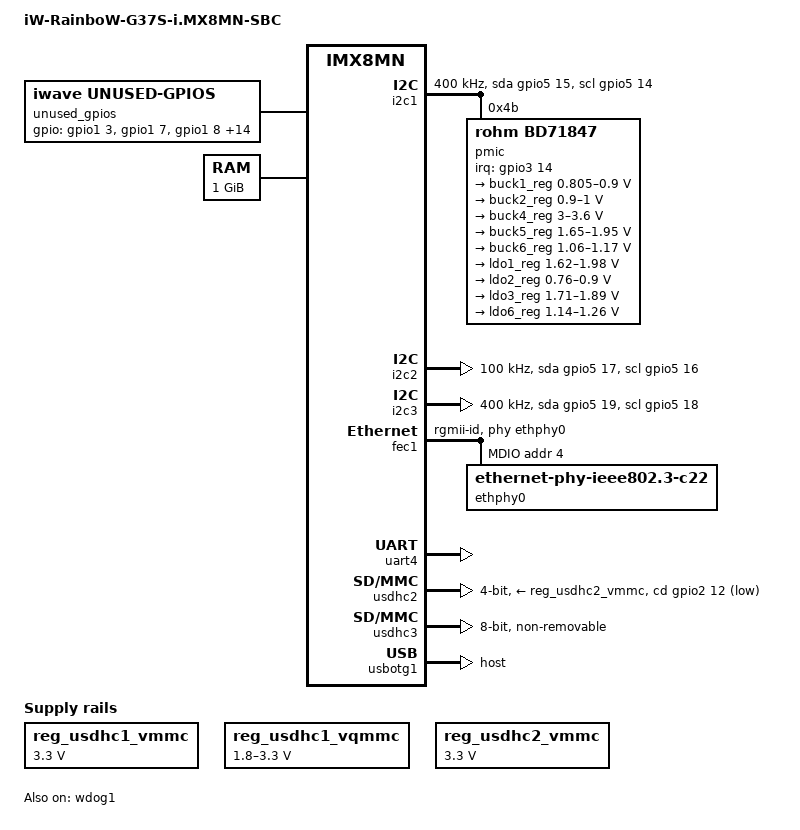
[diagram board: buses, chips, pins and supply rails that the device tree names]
/*
 * Copyright (C) 2021 iWave System Technologies Pvt Ltd.
 * Copyright 2021 
 *
 * This program is free software; you can redistribute it and/or
 * modify it under the terms of the GNU General Public License
 * as published by the Free Software Foundation; either version 2
 * of the License, or (at your option) any later version.
 *
 * This program is distributed in the hope that it will be useful,
 * but WITHOUT ANY WARRANTY; without even the implied warranty of
 * MERCHANTABILITY or FITNESS FOR A PARTICULAR PURPOSE.  See the
 * GNU General Public License for more details.
 */

/dts-v1/;

#include "imx8mn.dtsi"
#include <dt-bindings/usb/pd.h>

/ {
	model = "iW-RainboW-G37S-i.MX8MN-SBC";
	compatible = "fsl,imx8mn-iwg37s", "fsl,imx8mn";
	
	aliases { /* SD/MMC: eMMC/SD slot numbering fix */
		mmc0 = &usdhc3;
		mmc1 = &usdhc2;
		mmc2 = &usdhc1;
        };

	chosen {
		bootargs = "console=ttymxc3,115200 earlycon=ec_imx6q,0x30a60000,115200";
		stdout-path = &uart4;
	};

        unused_gpios: unused_gpios { /* GPIO: Setting Unused GPIOs as input pins */
               compatible = "iwave,unused-gpios";
               pinctrl-names = "default";
               pinctrl-0 = <&pinctrl_unused_gpio>;
               status = "okay";
      };

        memory@40000000 {
                device_type = "memory";
                reg = <0x0 0x40000000 0 0x40000000>;
       };

	reg_usdhc1_vmmc: regulator-usdhc1 { /* USDHC1: SOM Micro SD: 3.3V Fixed Regulator */
		compatible = "regulator-fixed";
		regulator-name = "VMMC_SD1_3V3";
		regulator-min-microvolt = <3300000>;
		regulator-max-microvolt = <3300000>;
	};

	reg_usdhc1_vqmmc: regulator-vqmmc-usdhc1 { /* USDHC1: SOM Micro SD: 1.8V-3.3V Switching Regulator */
		compatible = "regulator-gpio";
		regulator-name = "VQMMC_SD1_SW";
		regulator-min-microvolt = <1800000>;
		regulator-max-microvolt = <3300000>;
	};

	reg_usdhc2_vmmc: regulator-usdhc2 { /* USDHC2: Carrier Micro SD: 3.3V Fixed Regulator */
		compatible = "regulator-fixed";
		regulator-name = "VMMC_SD2_3V3";
		regulator-min-microvolt = <3300000>;
		regulator-max-microvolt = <3300000>;
		enable-active-high;
		startup-delay-us = <100>;
		off-on-delay-us = <12000>;
	};
};

&i2c1 { /* I2C: I2C1 Bus */
	clock-frequency = <400000>;
	pinctrl-names = "default", "gpio";
	pinctrl-0 = <&pinctrl_i2c1>;
	pinctrl-1 = <&pinctrl_i2c1_gpio>;
        scl-gpios = <&gpio5 14 GPIO_ACTIVE_HIGH>;
        sda-gpios = <&gpio5 15 GPIO_ACTIVE_HIGH>;
	status = "okay";
	
	pmic: bd71837@4b {
		reg = <0x4b>;
		compatible = "rohm,bd71847";
		pinctrl-0 = <&pinctrl_pmic>;
                interrupt-parent = <&gpio3>;
                interrupts = <14 GPIO_ACTIVE_LOW>;
                rohm,reset-snvs-powered;

                regulators {
                       buck1_reg: BUCK1 {
                                regulator-name = "BUCK1";
                                regulator-min-microvolt = <805000>;
                                regulator-max-microvolt = <900000>;
                                regulator-boot-on;
                                regulator-always-on;
                                regulator-ramp-delay = <1250>;
                                rohm,dvs-run-voltage = <850000>;
                                rohm,dvs-idle-voltage = <850000>;
                       };

                       buck2_reg: BUCK2 {
                                regulator-name = "BUCK2";
                                regulator-min-microvolt = <900000>;
                                regulator-max-microvolt = <1000000>;
                                regulator-boot-on;
                                regulator-always-on;
                                regulator-ramp-delay = <1250>;
                                rohm,dvs-run-voltage = <950000>;
                                rohm,dvs-idle-voltage = <950000>;
                        };

                        buck4_reg: BUCK4 {
                                regulator-name = "BUCK4";
                                regulator-min-microvolt = <3000000>;
                                regulator-max-microvolt = <3600000>;
                                regulator-boot-on;
                                regulator-always-on;
                        };

                        buck5_reg: BUCK5 {
                                regulator-name = "BUCK5";
                                regulator-min-microvolt = <1650000>;
                                regulator-max-microvolt = <1950000>;
                                regulator-boot-on;
                                regulator-always-on;
                        };
                        buck6_reg: BUCK6 {
                                regulator-name = "BUCK6";
                                regulator-min-microvolt = <1060000>;
                                regulator-max-microvolt = <1170000>;
                                regulator-boot-on;
                                regulator-always-on;
                        };

                        ldo1_reg: LDO1 {
                                regulator-name = "LDO1";
                                regulator-min-microvolt = <1620000>;
                                regulator-max-microvolt = <1980000>;
                                regulator-boot-on;
                                regulator-always-on;
                        };

                        ldo2_reg: LDO2 {
                                regulator-name = "LDO2";
                                regulator-min-microvolt = <760000>;
                                regulator-max-microvolt = <900000>;
                                regulator-boot-on;
                                regulator-always-on;
                        };

                        ldo3_reg: LDO3 {
                                regulator-name = "LDO3";
                                regulator-min-microvolt = <1710000>;
                                regulator-max-microvolt = <1890000>;
                                regulator-boot-on;
                                regulator-always-on;
                        };

                        ldo6_reg: LDO6 {
                                regulator-name = "LDO6";
                                regulator-min-microvolt = <1140000>;
                                regulator-max-microvolt = <1260000>;
                                regulator-boot-on;
                                regulator-always-on;
                        };
                };
        };
};

&i2c2 { /* I2C: I2C2 Bus */
       clock-frequency = <100000>;
       pinctrl-names = "default", "gpio";
       pinctrl-0 = <&pinctrl_i2c2>;
       pinctrl-1 = <&pinctrl_i2c2_gpio>;
       scl-gpios = <&gpio5 16 GPIO_ACTIVE_HIGH>;
       sda-gpios = <&gpio5 17 GPIO_ACTIVE_HIGH>;
       status = "okay";
};

&i2c3 { /* I2C: I2C3 Bus */
	clock-frequency = <400000>;
	pinctrl-names = "default", "gpio";
	pinctrl-0 = <&pinctrl_i2c3>;
	pinctrl-1 = <&pinctrl_i2c3_gpio>;
	scl-gpios = <&gpio5 18 GPIO_ACTIVE_HIGH>;
	sda-gpios = <&gpio5 19 GPIO_ACTIVE_HIGH>;
	status = "okay";
};

&fec1 { /* FEC1: AR8031 PHY ENET */
	pinctrl-names = "default";
	pinctrl-0 = <&pinctrl_fec1>;
	phy-mode = "rgmii-id";
	phy-handle = <&ethphy0>;
	fsl,magic-packet;
	status = "okay";

	mdio {
		#address-cells = <1>;
		#size-cells = <0>;

		ethphy0: ethernet-phy@0 {
			compatible = "ethernet-phy-ieee802.3-c22";
			reg = <4>;
			at803x,led-act-blind-workaround;
			at803x,eee-okay;
			at803x,vddio-1p8v;
		};
	};
};

&uart4 { /* UART4: Debug UART */
       pinctrl-names = "default";
       pinctrl-0 = <&pinctrl_uart4>;
       status = "okay";
};

&usdhc1 {
	pinctrl-names = "default", "state_100mhz", "state_200mhz";
	pinctrl-0 = <&pinctrl_usdhc1>;
	pinctrl-1 = <&pinctrl_usdhc1_100mhz>;
	pinctrl-2 = <&pinctrl_usdhc1_200mhz>;
	bus-width = <4>;
	vmmc-supply = <&reg_usdhc1_vmmc>;
	vqmmc-supply= <&reg_usdhc1_vqmmc>;
	status = "disabled";
};

&usdhc2 {
	pinctrl-names = "default", "state_100mhz", "state_200mhz";
	pinctrl-0 = <&pinctrl_usdhc2>, <&pinctrl_usdhc2_gpio>;
	pinctrl-1 = <&pinctrl_usdhc2_100mhz>, <&pinctrl_usdhc2_gpio>;
	pinctrl-2 = <&pinctrl_usdhc2_200mhz>, <&pinctrl_usdhc2_gpio>;
	bus-width = <4>;
	vmmc-supply = <&reg_usdhc2_vmmc>;
	no-1-8-v;
	cd-gpios = <&gpio2 12 GPIO_ACTIVE_LOW>;
	status = "okay";
};

&usdhc3 {
	pinctrl-names = "default", "state_100mhz", "state_200mhz";
	pinctrl-0 = <&pinctrl_usdhc3>;
	pinctrl-1 = <&pinctrl_usdhc3_100mhz>;
	pinctrl-2 = <&pinctrl_usdhc3_200mhz>;
	bus-width = <8>;
	non-removable;
	status = "okay";
};

&A53_0 { 
	cpu-supply = <&buck2_reg>;
};

&usbotg1 { /* USB1: USB OTG */
	dr_mode = "host";
	status = "okay";
};

&wdog1 {
       pinctrl-names = "default";
       pinctrl-0 = <&pinctrl_wdog>;
       fsl,ext-reset-output;
       status = "okay";
};

&unused_gpios { /* GPIO: iWave Unused GPIO pins */ 
	gpios =	<&gpio1 3 0>,
		<&gpio1 7 0>,
		<&gpio1 8 0>,
		<&gpio1 13 0>,
		<&gpio2 7 0>,
		<&gpio2 8 0>,
		<&gpio2 11 0>,
		<&gpio3 7 0>,
		<&gpio4 21 0>,
		<&gpio4 22 0>,
		<&gpio4 27 0>,
		<&gpio5 1 0>,
		<&gpio5 3 0>,
		<&gpio5 4 0>,
		<&gpio5 20 0>,
		<&gpio5 24 0>,
		<&gpio5 25 0>;
};

&iomuxc {
	pinctrl-names = "default";

	imx8mm-iwg37s {
		pinctrl_fec1: fec1grp { /*Ethernet: IOMUX Pin Configuration */
			fsl,pins = <
				MX8MN_IOMUXC_ENET_MDC_ENET1_MDC			0x3
				MX8MN_IOMUXC_ENET_MDIO_ENET1_MDIO		0x3
				MX8MN_IOMUXC_ENET_TD3_ENET1_RGMII_TD3		0x1f
				MX8MN_IOMUXC_ENET_TD2_ENET1_RGMII_TD2		0x1f
				MX8MN_IOMUXC_ENET_TD1_ENET1_RGMII_TD1		0x1f
				MX8MN_IOMUXC_ENET_TD0_ENET1_RGMII_TD0		0x1f
				MX8MN_IOMUXC_ENET_RD3_ENET1_RGMII_RD3		0x91
				MX8MN_IOMUXC_ENET_RD2_ENET1_RGMII_RD2		0x91
				MX8MN_IOMUXC_ENET_RD1_ENET1_RGMII_RD1		0x91
				MX8MN_IOMUXC_ENET_RD0_ENET1_RGMII_RD0		0x91
				MX8MN_IOMUXC_ENET_TXC_ENET1_RGMII_TXC		0x1f
				MX8MN_IOMUXC_ENET_RXC_ENET1_RGMII_RXC		0x91
				MX8MN_IOMUXC_ENET_RX_CTL_ENET1_RGMII_RX_CTL	0x91
				MX8MN_IOMUXC_ENET_TX_CTL_ENET1_RGMII_TX_CTL	0x1f
				MX8MN_IOMUXC_SAI5_RXC_GPIO3_IO20		0x19 /* Ethernet Wake on LAN */
				MX8MN_IOMUXC_SAI5_RXFS_GPIO3_IO19		0x19 /* Ethernet Interrupt */
				MX8MN_IOMUXC_SAI3_RXFS_GPIO4_IO28		0x19 /* Ethernet Reset */	 	
			>;
		};

		pinctrl_i2c1: i2c1grp { /* I2C1: PMIC I2C IOMUX Pin Configuration */
			fsl,pins = <
				MX8MN_IOMUXC_I2C1_SCL_I2C1_SCL			0x400001c3
				MX8MN_IOMUXC_I2C1_SDA_I2C1_SDA			0x400001c3
			>;
		};

                pinctrl_i2c2: i2c2grp {
                	fsl,pins = <
                        	MX8MN_IOMUXC_I2C2_SCL_I2C2_SCL                  0x400001c3
                        	MX8MN_IOMUXC_I2C2_SDA_I2C2_SDA                  0x400001c3
                	>;
               };

		pinctrl_i2c3: i2c3grp { /* I2C3: Touch IOMUX Pin Configuration */
			fsl,pins = <
				MX8MN_IOMUXC_I2C3_SCL_I2C3_SCL			0x400001c3
				MX8MN_IOMUXC_I2C3_SDA_I2C3_SDA			0x400001c3
			>;
		};

                pinctrl_i2c1_gpio: i2c1grp-gpio {
                        fsl,pins = <
                                MX8MN_IOMUXC_I2C1_SCL_GPIO5_IO14                0x1c3
                                MX8MN_IOMUXC_I2C1_SDA_GPIO5_IO15                0x1c3
                        >;
                };

                pinctrl_i2c2_gpio: i2c2grp-gpio {
                 	fsl,pins = <
                        	MX8MN_IOMUXC_I2C2_SCL_GPIO5_IO16                0x1c3
                        	MX8MN_IOMUXC_I2C2_SDA_GPIO5_IO17                0x1c3
                	>;
               };

	       pinctrl_i2c3_gpio: i2c3grp-gpio {
		       fsl,pins = <
		       		MX8MN_IOMUXC_I2C3_SCL_GPIO5_IO18		0x1c3
				MX8MN_IOMUXC_I2C3_SDA_GPIO5_IO19		0x1c3
		       >;
		};

		pinctrl_pmic: pmicirq { /* PMIC: PMIC IOMUX Pin Configuration */
			fsl,pins = <
				MX8MN_IOMUXC_NAND_DQS_GPIO3_IO14		0x41 /* PMIC Interrupt GPIO */
			>;
		};

		pinctrl_uart4: uart3grp { /* UART4: Debug UART IOMUX Pin Configuration */
			fsl,pins = <
				MX8MN_IOMUXC_UART4_RXD_UART4_DCE_RX		0x49
				MX8MN_IOMUXC_UART4_TXD_UART4_DCE_TX		0x49
			>;
		};

		pinctrl_usdhc1: usdhc1grp { /* USDHC1: SOM Micro SD/WiFi: IOMUX Pin Configuration */
			fsl,pins = <
				MX8MN_IOMUXC_SD1_CLK_USDHC1_CLK         0x190
				MX8MN_IOMUXC_SD1_CMD_USDHC1_CMD         0x1d0
				MX8MN_IOMUXC_SD1_DATA0_USDHC1_DATA0     0x1d0
				MX8MN_IOMUXC_SD1_DATA1_USDHC1_DATA1     0x1d0
				MX8MN_IOMUXC_SD1_DATA2_USDHC1_DATA2     0x1d0
				MX8MN_IOMUXC_SD1_DATA3_USDHC1_DATA3     0x1d0
			>;
		};

		pinctrl_usdhc1_100mhz: usdhc1grp100mhz {
			fsl,pins = <
				MX8MN_IOMUXC_SD1_CLK_USDHC1_CLK         0x194
				MX8MN_IOMUXC_SD1_CMD_USDHC1_CMD         0x1d4
				MX8MN_IOMUXC_SD1_DATA0_USDHC1_DATA0     0x1d4
				MX8MN_IOMUXC_SD1_DATA1_USDHC1_DATA1     0x1d4
				MX8MN_IOMUXC_SD1_DATA2_USDHC1_DATA2     0x1d4
				MX8MN_IOMUXC_SD1_DATA3_USDHC1_DATA3     0x1d4
			>;
		};

		pinctrl_usdhc1_200mhz: usdhc1grp200mhz {
			fsl,pins = <
				MX8MN_IOMUXC_SD1_CLK_USDHC1_CLK         0x196
				MX8MN_IOMUXC_SD1_CMD_USDHC1_CMD         0x1d6
				MX8MN_IOMUXC_SD1_DATA0_USDHC1_DATA0     0x1d6
				MX8MN_IOMUXC_SD1_DATA1_USDHC1_DATA1     0x1d6
				MX8MN_IOMUXC_SD1_DATA2_USDHC1_DATA2     0x1d6
				MX8MN_IOMUXC_SD1_DATA3_USDHC1_DATA3     0x1d6
			>;
		};

		pinctrl_usdhc2: usdhc2grp { /* USDHC2: Carrier Micro SD: IOMUX Pin Configuration */
			fsl,pins = <
				MX8MN_IOMUXC_SD2_CLK_USDHC2_CLK         0x190
				MX8MN_IOMUXC_SD2_CMD_USDHC2_CMD         0x1d0
				MX8MN_IOMUXC_SD2_DATA0_USDHC2_DATA0     0x1d0
				MX8MN_IOMUXC_SD2_DATA1_USDHC2_DATA1     0x1d0
				MX8MN_IOMUXC_SD2_DATA2_USDHC2_DATA2     0x1d0
				MX8MN_IOMUXC_SD2_DATA3_USDHC2_DATA3     0x1d0
				MX8MN_IOMUXC_GPIO1_IO04_USDHC2_VSELECT  0x1d0
			>;
		};

		pinctrl_usdhc2_100mhz: usdhc2grp100mhz {
			fsl,pins = <
				MX8MN_IOMUXC_SD2_CLK_USDHC2_CLK         0x194
				MX8MN_IOMUXC_SD2_CMD_USDHC2_CMD         0x1d4
				MX8MN_IOMUXC_SD2_DATA0_USDHC2_DATA0     0x1d4
				MX8MN_IOMUXC_SD2_DATA1_USDHC2_DATA1     0x1d4
				MX8MN_IOMUXC_SD2_DATA2_USDHC2_DATA2     0x1d4
				MX8MN_IOMUXC_SD2_DATA3_USDHC2_DATA3     0x1d4
				MX8MN_IOMUXC_GPIO1_IO04_USDHC2_VSELECT  0x1d0
			>;
		};

		pinctrl_usdhc2_200mhz: usdhc2grp200mhz {
			fsl,pins = <
				MX8MN_IOMUXC_SD2_CLK_USDHC2_CLK         0x196
				MX8MN_IOMUXC_SD2_CMD_USDHC2_CMD         0x1d6
				MX8MN_IOMUXC_SD2_DATA0_USDHC2_DATA0     0x1d6
				MX8MN_IOMUXC_SD2_DATA1_USDHC2_DATA1     0x1d6
				MX8MN_IOMUXC_SD2_DATA2_USDHC2_DATA2     0x1d6
				MX8MN_IOMUXC_SD2_DATA3_USDHC2_DATA3     0x1d6
				MX8MN_IOMUXC_GPIO1_IO04_USDHC2_VSELECT  0x1d0 
			>;
		};
	
		pinctrl_usdhc2_gpio: usdhc2grpgpio {
			fsl,pins = <
				MX8MN_IOMUXC_SD2_CD_B_GPIO2_IO12        0x41
			>;
		};

		pinctrl_usdhc3: usdhc3grp { /* USDHC3: EMMC: IOMUX Pin Configuration */
			fsl,pins = <
				MX8MN_IOMUXC_NAND_WE_B_USDHC3_CLK       0x40000190
				MX8MN_IOMUXC_NAND_WP_B_USDHC3_CMD       0x1d0
				MX8MN_IOMUXC_NAND_DATA04_USDHC3_DATA0   0x1d0
				MX8MN_IOMUXC_NAND_DATA05_USDHC3_DATA1   0x1d0
				MX8MN_IOMUXC_NAND_DATA06_USDHC3_DATA2   0x1d0
				MX8MN_IOMUXC_NAND_DATA07_USDHC3_DATA3   0x1d0
				MX8MN_IOMUXC_NAND_RE_B_USDHC3_DATA4     0x1d0
				MX8MN_IOMUXC_NAND_CE2_B_USDHC3_DATA5    0x1d0
				MX8MN_IOMUXC_NAND_CE3_B_USDHC3_DATA6    0x1d0
				MX8MN_IOMUXC_NAND_CLE_USDHC3_DATA7      0x1d0
				MX8MN_IOMUXC_NAND_READY_B_USDHC3_RESET_B 0x1d0
				MX8MN_IOMUXC_NAND_CE1_B_USDHC3_STROBE   0x190
			>;
		};

		pinctrl_usdhc3_100mhz: usdhc3grp100mhz {
			fsl,pins = <
				MX8MN_IOMUXC_NAND_WE_B_USDHC3_CLK       0x40000194
				MX8MN_IOMUXC_NAND_WP_B_USDHC3_CMD       0x1d4
				MX8MN_IOMUXC_NAND_DATA04_USDHC3_DATA0   0x1d4
				MX8MN_IOMUXC_NAND_DATA05_USDHC3_DATA1   0x1d4
				MX8MN_IOMUXC_NAND_DATA06_USDHC3_DATA2   0x1d4
				MX8MN_IOMUXC_NAND_DATA07_USDHC3_DATA3   0x1d4
				MX8MN_IOMUXC_NAND_RE_B_USDHC3_DATA4     0x1d4
				MX8MN_IOMUXC_NAND_CE2_B_USDHC3_DATA5    0x1d4
				MX8MN_IOMUXC_NAND_CE3_B_USDHC3_DATA6    0x1d4
				MX8MN_IOMUXC_NAND_CLE_USDHC3_DATA7      0x1d4
				MX8MN_IOMUXC_NAND_READY_B_USDHC3_RESET_B 0x1d4
				MX8MN_IOMUXC_NAND_CE1_B_USDHC3_STROBE   0x194
			>;
		};

		pinctrl_usdhc3_200mhz: usdhc3grp200mhz {
			fsl,pins = <
				MX8MN_IOMUXC_NAND_WE_B_USDHC3_CLK       0x40000196
				MX8MN_IOMUXC_NAND_WP_B_USDHC3_CMD       0x1d6
				MX8MN_IOMUXC_NAND_DATA04_USDHC3_DATA0   0x1d6
				MX8MN_IOMUXC_NAND_DATA05_USDHC3_DATA1   0x1d6
				MX8MN_IOMUXC_NAND_DATA06_USDHC3_DATA2   0x1d6
				MX8MN_IOMUXC_NAND_DATA07_USDHC3_DATA3   0x1d6
				MX8MN_IOMUXC_NAND_RE_B_USDHC3_DATA4     0x1d6
				MX8MN_IOMUXC_NAND_CE2_B_USDHC3_DATA5    0x1d6
				MX8MN_IOMUXC_NAND_CE3_B_USDHC3_DATA6    0x1d6
				MX8MN_IOMUXC_NAND_CLE_USDHC3_DATA7      0x1d6
				MX8MN_IOMUXC_NAND_READY_B_USDHC3_RESET_B 0x1d6
				MX8MN_IOMUXC_NAND_CE1_B_USDHC3_STROBE   0x196
			>;
		};

		pinctrl_board_cfg: board_cfg { /* SoC Board Settings: IOMUX Pin Configuration */
			fsl,pins= <
				MX8MN_IOMUXC_SD2_WP_GPIO2_IO20			0x1d5
				MX8MN_IOMUXC_SD2_RESET_B_GPIO2_IO19             0x1d5
				MX8MN_IOMUXC_NAND_CE0_B_GPIO3_IO1		0x1d5
				MX8MN_IOMUXC_GPIO1_IO00_GPIO1_IO0		0x1d5
				MX8MN_IOMUXC_GPIO1_IO10_GPIO1_IO10		0x1d5
				MX8MN_IOMUXC_GPIO1_IO11_GPIO1_IO11		0x1d5
				MX8MN_IOMUXC_GPIO1_IO09_GPIO1_IO9		0x1d5
			>;
		};

		pinctrl_unused_gpio: unused_gpiogrp{
			fsl,pins = <
				/* GPIO: Unused GPIO IOMUX Pin Configuration */
				MX8MN_IOMUXC_GPIO1_IO03_GPIO1_IO3		0x41
                                MX8MN_IOMUXC_GPIO1_IO07_GPIO1_IO7               0x41
                                MX8MN_IOMUXC_GPIO1_IO08_GPIO1_IO8               0x41    
                                MX8MN_IOMUXC_GPIO1_IO13_GPIO1_IO13              0x41
                                MX8MN_IOMUXC_SD1_DATA5_GPIO2_IO7                0x41
                                MX8MN_IOMUXC_SD1_DATA6_GPIO2_IO8                0x41
                                MX8MN_IOMUXC_SD1_STROBE_GPIO2_IO11              0x41
				MX8MN_IOMUXC_NAND_DATA01_GPIO3_IO7		0x41
				MX8MN_IOMUXC_SAI2_RXFS_GPIO4_IO21		0x41
				MX8MN_IOMUXC_SAI2_RXC_GPIO4_IO22		0x41	
				MX8MN_IOMUXC_SAI2_MCLK_GPIO4_IO27		0x41
				MX8MN_IOMUXC_SAI3_TXD_GPIO5_IO1			0x41
				MX8MN_IOMUXC_SPDIF_TX_GPIO5_IO3			0x41
				MX8MN_IOMUXC_SPDIF_RX_GPIO5_IO4			0x41
				MX8MN_IOMUXC_I2C4_SCL_GPIO5_IO20		0x41
				MX8MN_IOMUXC_UART2_RXD_GPIO5_IO24		0x41
				MX8MN_IOMUXC_UART2_TXD_GPIO5_IO25		0x41
			>;
		};

                pinctrl_wdog: wdoggrp {
                       fsl,pins = <
                               MX8MN_IOMUXC_GPIO1_IO02_WDOG1_WDOG_B            0xc6
                      >;
               };
	};
};
